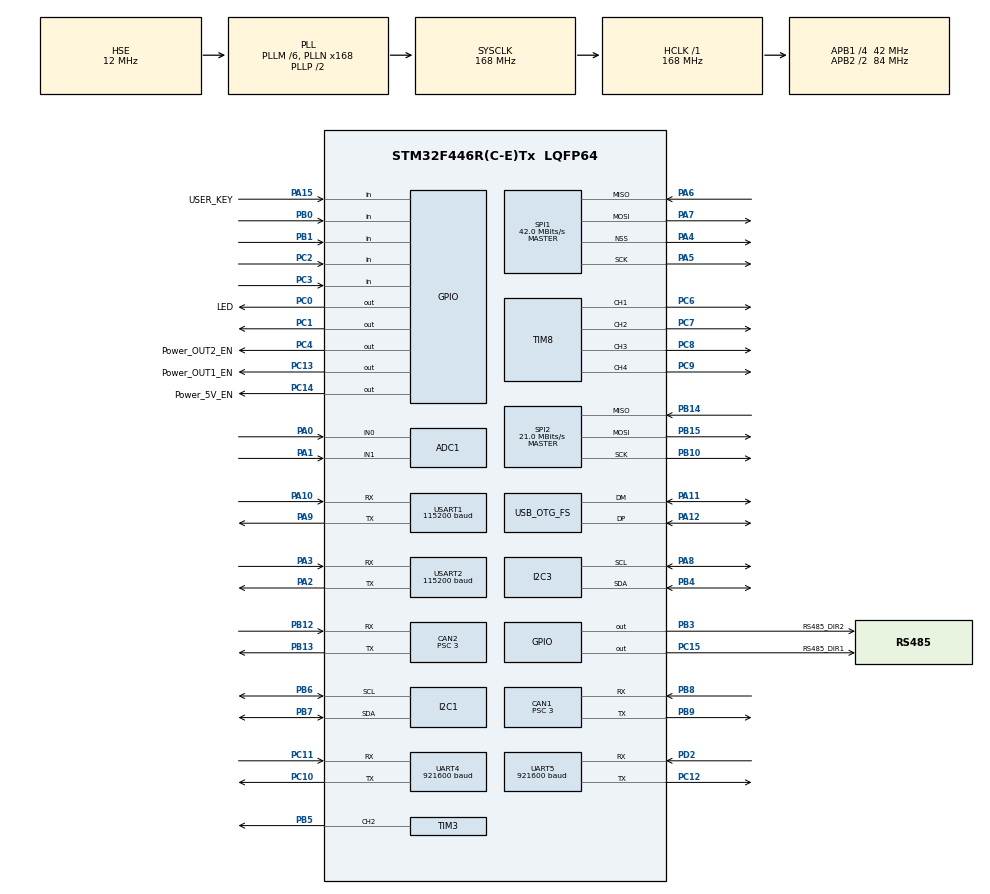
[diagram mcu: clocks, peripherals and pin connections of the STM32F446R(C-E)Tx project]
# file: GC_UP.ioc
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ADC1.Channel-0\#ChannelRegularConversion=ADC_CHANNEL_0
ADC1.NbrOfConversionFlag=1
ADC1.Rank-0\#ChannelRegularConversion=1
ADC1.SamplingTime-0\#ChannelRegularConversion=ADC_SAMPLETIME_3CYCLES
ADC1.master=1
CAN1.BS1=CAN_BS1_10TQ
CAN1.BS2=CAN_BS2_3TQ
CAN1.CalculateBaudRate=1000000
CAN1.CalculateTimeBit=1000
CAN1.CalculateTimeQuantum=71.42857142857143
CAN1.Prescaler=3
CAN1.SJW=CAN_SJW_1TQ
CAN2.BS1=CAN_BS1_10TQ
CAN2.BS2=CAN_BS2_3TQ
CAN2.CalculateBaudRate=1000000
CAN2.CalculateTimeBit=1000
CAN2.CalculateTimeQuantum=71.42857142857143
CAN2.Prescaler=3
CAN2.SJW=CAN_SJW_2TQ
Dma.Request0=USART2_RX
Dma.Request1=USART2_TX
Dma.Request2=USART1_RX
Dma.Request3=USART1_TX
Dma.USART1_RX.2.Direction=DMA_PERIPH_TO_MEMORY
Dma.USART1_RX.2.FIFOMode=DMA_FIFOMODE_DISABLE
Dma.USART1_RX.2.Instance=DMA2_Stream2
Dma.USART1_RX.2.MemDataAlignment=DMA_MDATAALIGN_BYTE
Dma.USART1_RX.2.MemInc=DMA_MINC_ENABLE
Dma.USART1_RX.2.Mode=DMA_NORMAL
Dma.USART1_RX.2.PeriphDataAlignment=DMA_PDATAALIGN_BYTE
Dma.USART1_RX.2.PeriphInc=DMA_PINC_DISABLE
Dma.USART1_RX.2.Priority=DMA_PRIORITY_LOW
Dma.USART1_TX.3.Direction=DMA_MEMORY_TO_PERIPH
Dma.USART1_TX.3.FIFOMode=DMA_FIFOMODE_DISABLE
Dma.USART1_TX.3.Instance=DMA2_Stream7
Dma.USART1_TX.3.MemDataAlignment=DMA_MDATAALIGN_BYTE
Dma.USART1_TX.3.MemInc=DMA_MINC_ENABLE
Dma.USART1_TX.3.Mode=DMA_NORMAL
Dma.USART1_TX.3.PeriphDataAlignment=DMA_PDATAALIGN_BYTE
Dma.USART1_TX.3.PeriphInc=DMA_PINC_DISABLE
Dma.USART1_TX.3.Priority=DMA_PRIORITY_LOW
Dma.USART2_RX.0.Direction=DMA_PERIPH_TO_MEMORY
Dma.USART2_RX.0.FIFOMode=DMA_FIFOMODE_DISABLE
Dma.USART2_RX.0.Instance=DMA1_Stream5
Dma.USART2_RX.0.MemDataAlignment=DMA_MDATAALIGN_BYTE
Dma.USART2_RX.0.MemInc=DMA_MINC_ENABLE
Dma.USART2_RX.0.Mode=DMA_NORMAL
Dma.USART2_RX.0.PeriphDataAlignment=DMA_PDATAALIGN_BYTE
Dma.USART2_RX.0.PeriphInc=DMA_PINC_DISABLE
Dma.USART2_RX.0.Priority=DMA_PRIORITY_VERY_HIGH
Dma.USART2_TX.1.Direction=DMA_MEMORY_TO_PERIPH
Dma.USART2_TX.1.FIFOMode=DMA_FIFOMODE_DISABLE
Dma.USART2_TX.1.Instance=DMA1_Stream6
Dma.USART2_TX.1.MemDataAlignment=DMA_MDATAALIGN_BYTE
Dma.USART2_TX.1.MemInc=DMA_MINC_ENABLE
Dma.USART2_TX.1.Mode=DMA_NORMAL
Dma.USART2_TX.1.PeriphDataAlignment=DMA_PDATAALIGN_BYTE
Dma.USART2_TX.1.PeriphInc=DMA_PINC_DISABLE
Dma.USART2_TX.1.Priority=DMA_PRIORITY_VERY_HIGH
FREERTOS.Tasks01=defaultTask,0,128,StartDefaultTask,Default,NULL,Dynamic,NULL,NULL;Arm_Task,-3,128,StartTask02,Default,NULL,Dynamic,NULL,NULL;sucker_Task,-3,128,StartTask03,Default,NULL,Dynamic,NULL,NULL;remote_task,-3,128,StartTask04,Default,NULL,Dynamic,NULL,NULL
I2C1.I2C_Mode=I2C_Fast
I2C3.I2C_Mode=I2C_Fast
Mcu.Family=STM32F4
Mcu.Name=STM32F446R(C-E)Tx
Mcu.Package=LQFP64
NVIC.CAN1_RX0_IRQn=true\:5\:0\:false\:false\:true\:true\:true\:true\:true
NVIC.CAN1_TX_IRQn=true\:5\:0\:false\:false\:true\:true\:true\:true\:true
NVIC.CAN2_RX0_IRQn=true\:5\:0\:false\:false\:true\:true\:true\:true\:true
NVIC.CAN2_TX_IRQn=true\:5\:0\:false\:false\:true\:true\:true\:true\:true
NVIC.DMA1_Stream5_IRQn=true\:5\:0\:false\:false\:true\:true\:false\:true\:true
NVIC.DMA1_Stream6_IRQn=true\:5\:0\:false\:false\:true\:true\:false\:true\:true
NVIC.DMA2_Stream2_IRQn=true\:5\:0\:false\:false\:true\:true\:false\:true\:true
NVIC.DMA2_Stream7_IRQn=true\:5\:0\:false\:false\:true\:true\:false\:true\:true
NVIC.OTG_FS_IRQn=true\:5\:0\:false\:false\:true\:true\:false\:true\:true
NVIC.PriorityGroup=NVIC_PRIORITYGROUP_4
NVIC.TIM2_IRQn=true\:15\:0\:false\:false\:true\:false\:false\:true\:true
NVIC.TimeBase=TIM2_IRQn
NVIC.TimeBaseIP=TIM2
NVIC.USART1_IRQn=true\:5\:0\:false\:false\:true\:true\:true\:true\:true
NVIC.USART2_IRQn=true\:5\:0\:false\:false\:true\:true\:true\:true\:true
PA0-WKUP.GPIO_Mode=GPIO_MODE_ANALOG
PA0-WKUP.GPIO_PuPd=GPIO_NOPULL
PA0-WKUP.Signal=ADCx_IN0
PA1.GPIO_Mode=GPIO_MODE_ANALOG
PA1.GPIO_PuPd=GPIO_NOPULL
PA1.Signal=ADCx_IN1
PA10.Mode=Asynchronous
PA10.Signal=USART1_RX
PA11.Mode=Device_Only
PA11.Signal=USB_OTG_FS_DM
PA12.Mode=Device_Only
PA12.Signal=USB_OTG_FS_DP
PA13.Mode=Serial_Wire
PA13.Signal=SYS_JTMS-SWDIO
PA14.Mode=Serial_Wire
PA14.Signal=SYS_JTCK-SWCLK
PA15.GPIO_Label=USER_KEY
PA15.Signal=GPIO_Input
PA2.Mode=Asynchronous
PA2.Signal=USART2_TX
PA3.Mode=Asynchronous
PA3.Signal=USART2_RX
PA4.Mode=NSS_Signal_Hard_Output
PA4.Signal=SPI1_NSS
PA5.Mode=Full_Duplex_Master
PA5.Signal=SPI1_SCK
PA6.Mode=Full_Duplex_Master
PA6.Signal=SPI1_MISO
PA7.Mode=Full_Duplex_Master
PA7.Signal=SPI1_MOSI
PA8.GPIO_Pu=GPIO_PULLUP
PA8.Mode=I2C
PA8.Signal=I2C3_SCL
PA9.Mode=Asynchronous
PA9.Signal=USART1_TX
PB0.GPIO_Mode=GPIO_MODE_INPUT
PB0.GPIO_PuPd=GPIO_NOPULL
PB0.Signal=GPIO_Input
PB1.GPIO_Mode=GPIO_MODE_INPUT
PB1.GPIO_PuPd=GPIO_NOPULL
PB1.Signal=GPIO_Input
PB10.Mode=Full_Duplex_Master
PB10.Signal=SPI2_SCK
PB12.Mode=CAN_Activate
PB12.Signal=CAN2_RX
PB13.Mode=CAN_Activate
PB13.Signal=CAN2_TX
PB14.Mode=Full_Duplex_Master
PB14.Signal=SPI2_MISO
PB15.Mode=Full_Duplex_Master
PB15.Signal=SPI2_MOSI
PB2.GPIO_ModeDefaultPP=GPIO_MODE_AF_PP
PB2.GPIO_PuPd=GPIO_NOPULL
PB2.GPIO_Speed=GPIO_SPEED_FREQ_LOW
PB2.Signal=S_TIM2_CH4
PB3.GPIO_Label=RS485_DIR2
PB3.GPIO_ModeDefaultOutputPP=GPIO_MODE_OUTPUT_PP
PB3.GPIO_PuPd=GPIO_NOPULL
PB3.GPIO_Speed=GPIO_SPEED_FREQ_LOW
PB3.PinState=GPIO_PIN_RESET
PB3.Signal=GPIO_Output
PB4.GPIO_Pu=GPIO_PULLUP
PB4.Mode=I2C
PB4.Signal=I2C3_SDA
PB5.GPIO_PuPd=GPIO_PULLDOWN
PB5.Signal=S_TIM3_CH2
PB6.GPIO_Pu=GPIO_PULLUP
PB6.Mode=I2C
PB6.Signal=I2C1_SCL
PB7.GPIO_Pu=GPIO_PULLUP
PB7.Mode=I2C
PB7.Signal=I2C1_SDA
PB8.Mode=CAN_Activate
PB8.Signal=CAN1_RX
PB9.Mode=CAN_Activate
PB9.Signal=CAN1_TX
PC0.GPIO_Label=LED
PC0.GPIO_ModeDefaultOutputPP=GPIO_MODE_OUTPUT_PP
PC0.GPIO_PuPd=GPIO_NOPULL
PC0.GPIO_Speed=GPIO_SPEED_FREQ_LOW
PC0.PinState=GPIO_PIN_RESET
PC0.Signal=GPIO_Output
PC1.Signal=GPIO_Output
PC10.Mode=Asynchronous
PC10.Signal=UART4_TX
PC11.Mode=Asynchronous
PC11.Signal=UART4_RX
PC12.Mode=Asynchronous
PC12.Signal=UART5_TX
PC13.GPIO_Label=Power_OUT1_EN
PC13.GPIO_ModeDefaultOutputPP=GPIO_MODE_OUTPUT_PP
PC13.GPIO_PuPd=GPIO_NOPULL
PC13.GPIO_Speed=GPIO_SPEED_FREQ_LOW
PC13.PinState=GPIO_PIN_RESET
PC13.Signal=GPIO_Output
PC14-OSC32_IN.GPIO_Label=Power_5V_EN
PC14-OSC32_IN.GPIO_ModeDefaultOutputPP=GPIO_MODE_OUTPUT_PP
PC14-OSC32_IN.GPIO_PuPd=GPIO_NOPULL
PC14-OSC32_IN.GPIO_Speed=GPIO_SPEED_FREQ_LOW
PC14-OSC32_IN.PinState=GPIO_PIN_RESET
PC14-OSC32_IN.Signal=GPIO_Output
PC15-OSC32_OUT.GPIO_Label=RS485_DIR1
PC15-OSC32_OUT.GPIO_ModeDefaultOutputPP=GPIO_MODE_OUTPUT_PP
PC15-OSC32_OUT.GPIO_PuPd=GPIO_NOPULL
PC15-OSC32_OUT.GPIO_Speed=GPIO_SPEED_FREQ_LOW
PC15-OSC32_OUT.PinState=GPIO_PIN_RESET
PC15-OSC32_OUT.Signal=GPIO_Output
PC2.Signal=GPIO_Input
PC3.Signal=GPIO_Input
PC4.GPIO_Label=Power_OUT2_EN
PC4.Signal=GPIO_Output
PC5.Signal=USART3_RX
PC6.Signal=S_TIM8_CH1
PC7.Signal=S_TIM8_CH2
PC8.Signal=S_TIM8_CH3
PC9.Signal=S_TIM8_CH4
PD2.Mode=Asynchronous
PD2.Signal=UART5_RX
PH0-OSC_IN.Mode=HSE-External-Oscillator
PH0-OSC_IN.Signal=RCC_OSC_IN
PH1-OSC_OUT.Mode=HSE-External-Oscillator
PH1-OSC_OUT.Signal=RCC_OSC_OUT
ProjectManager.HeapSize=0x400
ProjectManager.StackSize=0x800
ProjectManager.TargetToolchain=MDK-ARM V5.27
RCC.AHBFreq_Value=168000000
RCC.APB1CLKDivider=RCC_HCLK_DIV4
RCC.APB1Freq_Value=42000000
RCC.APB1TimFreq_Value=84000000
RCC.APB2CLKDivider=RCC_HCLK_DIV2
RCC.APB2Freq_Value=84000000
RCC.APB2TimFreq_Value=168000000
RCC.CortexFreq_Value=168000000
RCC.HCLKFreq_Value=168000000
RCC.HSE_VALUE=12000000
RCC.PLLM=6
RCC.PLLN=168
RCC.PLLQ=7
RCC.PLLSAIM=6
RCC.PLLSAIN=96
RCC.PLLSAIP=RCC_PLLSAIP_DIV4
RCC.SYSCLKFreq_VALUE=168000000
RCC.SYSCLKSource=RCC_SYSCLKSOURCE_PLLCLK
RCC.USBFreq_Value=48000000
RCC.VCOOutputFreq_Value=336000000
SH.ADCx_IN0.0=ADC1_IN0,IN0
SH.ADCx_IN1.0=ADC1_IN1,IN1
SH.S_TIM2_CH4.0=TIM2_CH4
SH.S_TIM3_CH2.0=TIM3_CH2,PWM Generation2 CH2
SH.S_TIM8_CH1.0=TIM8_CH1,PWM Generation1 CH1
SH.S_TIM8_CH2.0=TIM8_CH2,PWM Generation2 CH2
SH.S_TIM8_CH3.0=TIM8_CH3,PWM Generation3 CH3
SH.S_TIM8_CH4.0=TIM8_CH4,PWM Generation4 CH4
SPI1.BaudRatePrescaler=SPI_BAUDRATEPRESCALER_2
SPI1.CalculateBaudRate=42.0 MBits/s
SPI1.Direction=SPI_DIRECTION_2LINES
SPI1.Mode=SPI_MODE_MASTER
SPI1.VirtualNSS=VM_NSSHARD
SPI1.VirtualType=VM_MASTER
SPI2.BaudRatePrescaler=SPI_BAUDRATEPRESCALER_2
SPI2.CalculateBaudRate=21.0 MBits/s
SPI2.Direction=SPI_DIRECTION_2LINES
SPI2.Mode=SPI_MODE_MASTER
SPI2.VirtualType=VM_MASTER
TIM3.Channel-PWM\ Generation2\ CH2=TIM_CHANNEL_2
TIM3.Period=20000-1
TIM3.Prescaler=168-1
TIM8.Channel-PWM\ Generation1\ CH1=TIM_CHANNEL_1
TIM8.Channel-PWM\ Generation2\ CH2=TIM_CHANNEL_2
TIM8.Channel-PWM\ Generation3\ CH3=TIM_CHANNEL_3
TIM8.Channel-PWM\ Generation4\ CH4=TIM_CHANNEL_4
UART4.BaudRate=921600
UART4.VirtualMode=Asynchronous
UART5.BaudRate=921600
UART5.VirtualMode=Asynchronous
USART1.BaudRate=115200
USART1.VirtualMode=VM_ASYNC
USART2.BaudRate=115200
USART2.Parity=PARITY_NONE
USART2.VirtualMode=VM_ASYNC
USB_DEVICE.CLASS_NAME_FS=CDC
USB_DEVICE.VirtualMode-CDC_FS=Cdc
USB_DEVICE.VirtualModeFS=Cdc_FS
USB_OTG_FS.VirtualMode=Device_Only
VP_FREERTOS_VS_CMSIS_V1.Mode=CMSIS_V1
VP_SYS_VS_tim2.Mode=TIM2
VP_TIM3_VS_ClockSourceINT.Mode=Internal
VP_USB_DEVICE_VS_USB_DEVICE_CDC_FS.Mode=CDC_FS
board=custom

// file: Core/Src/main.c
/* USER CODE BEGIN Header */
/**
  ******************************************************************************
  * @file           : main.c
  * @brief          : Main program body
  ******************************************************************************
  * @attention
  *
  * Copyright (c) 2024 STMicroelectronics.
  * All rights reserved.
  *
  * This software is licensed under terms that can be found in the LICENSE file
  * in the root directory of this software component.
  * If no LICENSE file comes with this software, it is provided AS-IS.
  *
  ******************************************************************************
  */
/* USER CODE END Header */
#include "main.h"
#include "cmsis_os.h"
#include "adc.h"
#include "can.h"
#include "dma.h"
#include "i2c.h"
#include "spi.h"
#include "tim.h"
#include "usart.h"
#include "usb_device.h"
#include "gpio.h"

void SystemClock_Config(void);
void MX_FREERTOS_Init(void);
/* USER CODE BEGIN PFP */
float target_speed[7];//实测最大空载转速320rpm
moto_info_t motor_info[MOTOR_MAX_NUM];		//赋予最大的7个字节
moto_info_t motor_info_can_2[MOTOR_MAX_NUM];		//赋予最大的7个字节
uint8_t Data_Enable[8]={0xFF, 0xFF, 0xFF, 0xFF, 0xFF, 0xFF, 0xFF, 0xFC};		//电机使能命令
pid_struct_t motor_pid[7];
pid_struct_t motor_pid_can_2[7];
uint8_t can_flag=0;
uint8_t remote_flag=0;
double step=9158/660;
double r;
double sin_sita;
double cos_sita;
double target_v;
int16_t target_int1;
int16_t target_int2;//用于叠加旋转和直行
double target_curl;
float yuntai_step=60*(1024-364);
volatile uint8_t rx_len = 0;  //接收一帧数据的长度
volatile uint8_t recv_end_flag = 0; //一帧数据接收完成标志
uint8_t rx_buffer[100]={0};  //接收数据缓存数组
uint16_t can_cnt_2;
extern uint8_t uart_rx_buffer[100];
/* USER CODE END PFP */

int main(void)
{

  /* MCU Configuration--------------------------------------------------------*/

  /* Reset of all peripherals, Initializes the Flash interface and the Systick. */
  HAL_Init();

  /* Configure the system clock */
  SystemClock_Config();

  /* Initialize all configured peripherals */
  MX_GPIO_Init();
  MX_DMA_Init();
  MX_CAN1_Init();
  MX_CAN2_Init();
  MX_SPI1_Init();
  MX_UART4_Init();
  MX_UART5_Init();
  MX_USART1_UART_Init();
  MX_ADC1_Init();
  MX_I2C1_Init();
  MX_TIM8_Init();
  MX_I2C3_Init();
  MX_SPI2_Init();
  MX_USART2_UART_Init();
  MX_TIM3_Init();
  /* USER CODE BEGIN 2 */
	HAL_NVIC_SetPriority(TIM2_IRQn, 0, 0);//修改TIM2中断优先级
  CAN1_Init();
  CAN2_Init();
  USART2_Init();
	HAL_TIM_Base_Start_IT(&htim3);
	__HAL_UART_ENABLE_IT(&huart2, UART_IT_IDLE);
	HAL_UART_Receive_DMA(&huart2, uart_rx_buffer, 100);
  /* USER CODE END 2 */

  /* Call init function for freertos objects (in freertos.c) */
  MX_FREERTOS_Init();

  /* Start scheduler */
  osKernelStart();

  /* We should never get here as control is now taken by the scheduler */
  /* Infinite loop */
  while (1)
  {

  }
}

void SystemClock_Config(void)
{
  RCC_OscInitTypeDef RCC_OscInitStruct = {0};
  RCC_ClkInitTypeDef RCC_ClkInitStruct = {0};

  /** Configure the main internal regulator output voltage
  */
  __HAL_RCC_PWR_CLK_ENABLE();
  __HAL_PWR_VOLTAGESCALING_CONFIG(PWR_REGULATOR_VOLTAGE_SCALE1);

  /** Initializes the RCC Oscillators according to the specified parameters
  * in the RCC_OscInitTypeDef structure.
  */
  RCC_OscInitStruct.OscillatorType = RCC_OSCILLATORTYPE_HSE;
  RCC_OscInitStruct.HSEState = RCC_HSE_ON;
  RCC_OscInitStruct.PLL.PLLState = RCC_PLL_ON;
  RCC_OscInitStruct.PLL.PLLSource = RCC_PLLSOURCE_HSE;
  RCC_OscInitStruct.PLL.PLLM = 6;
  RCC_OscInitStruct.PLL.PLLN = 168;
  RCC_OscInitStruct.PLL.PLLP = RCC_PLLP_DIV2;
  RCC_OscInitStruct.PLL.PLLQ = 7;
  RCC_OscInitStruct.PLL.PLLR = 2;
  if (HAL_RCC_OscConfig(&RCC_OscInitStruct) != HAL_OK)
  {
    Error_Handler();
  }

  /** Initializes the CPU, AHB and APB buses clocks
  */
  RCC_ClkInitStruct.ClockType = RCC_CLOCKTYPE_HCLK|RCC_CLOCKTYPE_SYSCLK
                              |RCC_CLOCKTYPE_PCLK1|RCC_CLOCKTYPE_PCLK2;
  RCC_ClkInitStruct.SYSCLKSource = RCC_SYSCLKSOURCE_PLLCLK;
  RCC_ClkInitStruct.AHBCLKDivider = RCC_SYSCLK_DIV1;
  RCC_ClkInitStruct.APB1CLKDivider = RCC_HCLK_DIV4;
  RCC_ClkInitStruct.APB2CLKDivider = RCC_HCLK_DIV2;

  if (HAL_RCC_ClockConfig(&RCC_ClkInitStruct, FLASH_LATENCY_5) != HAL_OK)
  {
    Error_Handler();
  }
}

void HAL_TIM_PeriodElapsedCallback(TIM_HandleTypeDef *htim)
{
  if (htim->Instance == TIM2) {
    HAL_IncTick();
  }
}

void Error_Handler(void)
{
  __disable_irq();
  while (1)
  {
  }
}

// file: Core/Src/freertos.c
/* USER CODE BEGIN Header */
/**
  ******************************************************************************
  * File Name          : freertos.c
  * Description        : Code for freertos applications
  ******************************************************************************
  * @attention
  *
  * Copyright (c) 2024 STMicroelectronics.
  * All rights reserved.
  *
  * This software is licensed under terms that can be found in the LICENSE file
  * in the root directory of this software component.
  * If no LICENSE file comes with this software, it is provided AS-IS.
  *
  ******************************************************************************
  */
/* USER CODE END Header */

#include "FreeRTOS.h"
#include "task.h"
#include "main.h"
#include "cmsis_os.h"

osThreadId defaultTaskHandle;
osThreadId Arm_TaskHandle;
osThreadId sucker_TaskHandle;
osThreadId remote_taskHandle;

void StartDefaultTask(void const * argument);
void StartTask02(void const * argument);
void StartTask03(void const * argument);
void StartTask04(void const * argument);

extern void MX_USB_DEVICE_Init(void);
void MX_FREERTOS_Init(void); /* (MISRA C 2004 rule 8.1) */

/* GetIdleTaskMemory prototype (linked to static allocation support) */
void vApplicationGetIdleTaskMemory( StaticTask_t **ppxIdleTaskTCBBuffer, StackType_t **ppxIdleTaskStackBuffer, uint32_t *pulIdleTaskStackSize );

/* USER CODE BEGIN GET_IDLE_TASK_MEMORY */
static StaticTask_t xIdleTaskTCBBuffer;
static StackType_t xIdleStack[configMINIMAL_STACK_SIZE];

void vApplicationGetIdleTaskMemory( StaticTask_t **ppxIdleTaskTCBBuffer, StackType_t **ppxIdleTaskStackBuffer, uint32_t *pulIdleTaskStackSize )
{
  *ppxIdleTaskTCBBuffer = &xIdleTaskTCBBuffer;
  *ppxIdleTaskStackBuffer = &xIdleStack[0];
  *pulIdleTaskStackSize = configMINIMAL_STACK_SIZE;
  /* place for user code */
}
/* USER CODE END GET_IDLE_TASK_MEMORY */

void MX_FREERTOS_Init(void) {

  /* Create the thread(s) */
  /* definition and creation of defaultTask */
  osThreadDef(defaultTask, StartDefaultTask, osPriorityNormal, 0, 128);
  defaultTaskHandle = osThreadCreate(osThread(defaultTask), NULL);

  /* definition and creation of Arm_Task */
  osThreadDef(Arm_Task, StartTask02, osPriorityIdle, 0, 128);
  Arm_TaskHandle = osThreadCreate(osThread(Arm_Task), NULL);

  /* definition and creation of sucker_Task */
  osThreadDef(sucker_Task, StartTask03, osPriorityIdle, 0, 128);
  sucker_TaskHandle = osThreadCreate(osThread(sucker_Task), NULL);

  /* definition and creation of remote_task */
  osThreadDef(remote_task, StartTask04, osPriorityIdle, 0, 128);
  remote_taskHandle = osThreadCreate(osThread(remote_task), NULL);

}

void StartDefaultTask(void const * argument)
{
  /* init code for USB_DEVICE */
  MX_USB_DEVICE_Init();
  for(;;)
  {
    osDelay(1);
  }
}
